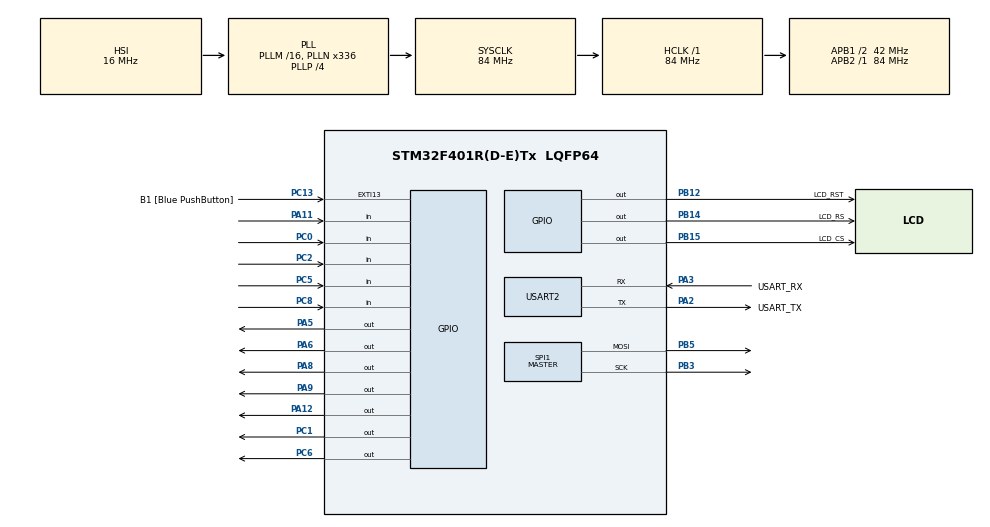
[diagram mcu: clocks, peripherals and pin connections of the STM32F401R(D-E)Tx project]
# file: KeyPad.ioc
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Mcu.Family=STM32F4
Mcu.Name=STM32F401R(D-E)Tx
Mcu.Package=LQFP64
NVIC.PriorityGroup=NVIC_PRIORITYGROUP_0
PA11.Signal=GPIO_Input
PA12.Signal=GPIO_Output
PA13.GPIO_Label=TMS
PA13.Mode=Serial_Wire
PA13.Signal=SYS_JTMS-SWDIO
PA14.GPIO_Label=TCK
PA14.Mode=Serial_Wire
PA14.Signal=SYS_JTCK-SWCLK
PA2.GPIO_Label=USART_TX
PA2.GPIO_Mode=GPIO_MODE_AF_PP
PA2.GPIO_PuPd=GPIO_NOPULL
PA2.GPIO_Speed=GPIO_SPEED_FREQ_LOW
PA2.Mode=Asynchronous
PA2.Signal=USART2_TX
PA3.GPIO_Label=USART_RX
PA3.GPIO_Mode=GPIO_MODE_AF_PP
PA3.GPIO_PuPd=GPIO_NOPULL
PA3.GPIO_Speed=GPIO_SPEED_FREQ_LOW
PA3.Mode=Asynchronous
PA3.Signal=USART2_RX
PA5.Signal=GPIO_Output
PA6.Signal=GPIO_Output
PA8.Signal=GPIO_Output
PA9.Signal=GPIO_Output
PB12.GPIO_Label=LCD_RST
PB12.Signal=GPIO_Output
PB14.GPIO_Label=LCD_RS
PB14.Signal=GPIO_Output
PB15.GPIO_Label=LCD_CS
PB15.Signal=GPIO_Output
PB3.Mode=TX_Only_Simplex_Unidirect_Master
PB3.Signal=SPI1_SCK
PB5.Mode=TX_Only_Simplex_Unidirect_Master
PB5.Signal=SPI1_MOSI
PC0.Signal=GPIO_Input
PC1.Signal=GPIO_Output
PC13-ANTI_TAMP.GPIO_Label=B1 [Blue PushButton]
PC13-ANTI_TAMP.GPIO_ModeDefaultEXTI=GPIO_MODE_IT_FALLING
PC13-ANTI_TAMP.GPIO_PuPd=GPIO_NOPULL
PC13-ANTI_TAMP.Signal=GPXTI13
PC14-OSC32_IN.Mode=LSE-External-Oscillator
PC14-OSC32_IN.Signal=RCC_OSC32_IN
PC15-OSC32_OUT.Mode=LSE-External-Oscillator
PC15-OSC32_OUT.Signal=RCC_OSC32_OUT
PC2.Signal=GPIO_Input
PC5.Signal=GPIO_Input
PC6.Signal=GPIO_Output
PC8.Signal=GPIO_Input
PH0\ -\ OSC_IN.Mode=HSE-External-Clock-Source
PH0\ -\ OSC_IN.Signal=RCC_OSC_IN
PH1\ -\ OSC_OUT.Mode=HSE-External-Clock-Source
PH1\ -\ OSC_OUT.Signal=RCC_OSC_OUT
ProjectManager.HeapSize=0x200
ProjectManager.StackSize=0x400
ProjectManager.TargetToolchain=STM32CubeIDE
RCC.48MHZClocksFreq_Value=48000000
RCC.AHBFreq_Value=84000000
RCC.APB1CLKDivider=RCC_HCLK_DIV2
RCC.APB1Freq_Value=42000000
RCC.APB1TimFreq_Value=84000000
RCC.APB2Freq_Value=84000000
RCC.APB2TimFreq_Value=84000000
RCC.CortexFreq_Value=84000000
RCC.HCLKFreq_Value=84000000
RCC.HSE_VALUE=8000000
RCC.HSI_VALUE=16000000
RCC.PLLN=336
RCC.PLLP=RCC_PLLP_DIV4
RCC.PLLQ=7
RCC.SYSCLKFreq_VALUE=84000000
RCC.SYSCLKSource=RCC_SYSCLKSOURCE_PLLCLK
RCC.VCOOutputFreq_Value=336000000
SPI1.BaudRatePrescaler=SPI_BAUDRATEPRESCALER_32
SPI1.Direction=SPI_DIRECTION_2LINES
SPI1.Mode=SPI_MODE_MASTER
SPI1.VirtualType=VM_MASTER
USART2.VirtualMode=VM_ASYNC
board=NUCLEO-F401RE

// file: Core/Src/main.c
/* USER CODE BEGIN Header */
/**
  ******************************************************************************
  * @file           : main.c
  * @brief          : Main program body
  ******************************************************************************
  * @attention
  *
  * Copyright (c) 2023 STMicroelectronics.
  * All rights reserved.
  *
  * This software is licensed under terms that can be found in the LICENSE file
  * in the root directory of this software component.
  * If no LICENSE file comes with this software, it is provided AS-IS.
  *
  ******************************************************************************
  */
/* USER CODE END Header */
#include "main.h"
#include "spi.h"
#include "usart.h"
#include "gpio.h"

/* USER CODE BEGIN Includes */
#include "st7735.h"
#include "fonts.h"
#include "lzy.h"
//#include "3x4keypad.h"
/* USER CODE END Includes */

/* USER CODE BEGIN PTD */
#define R1_PORT GPIOC
#define R1_PIN GPIO_PIN_1

#define R2_PORT GPIOA
#define R2_PIN GPIO_PIN_9

#define R3_PORT GPIOA
#define R3_PIN GPIO_PIN_8

#define R4_PORT GPIOA
#define R4_PIN GPIO_PIN_12

#define C1_PORT GPIOC
#define C1_PIN GPIO_PIN_2

#define C2_PORT GPIOC
#define C2_PIN GPIO_PIN_0

#define C3_PORT GPIOA
#define C3_PIN GPIO_PIN_11

#include "KeyPad.h"

/* USER CODE END PTD */

void SystemClock_Config(void);

/* USER CODE BEGIN 0 */

/*
char read_key_char(){
	HAL_GPIO_WritePin(GPIOC, GPIO_PIN_1, 1); // Wire 2 //
	if(HAL_GPIO_ReadPin(GPIOC, GPIO_PIN_2) == 1){ // Wire 3 //
		return '1';
  	}
  	if(HAL_GPIO_ReadPin(GPIOA, GPIO_PIN_11) == 1){ // Wire 5
  		return '3';
  	}
  	if(HAL_GPIO_ReadPin(GPIOC, GPIO_PIN_0) == 1){ // Wire 1 //
  	  	return '2';
  	}
	HAL_GPIO_WritePin(GPIOC, GPIO_PIN_1, 0);
	HAL_GPIO_WritePin(GPIOA, GPIO_PIN_9, 1); // Wire 7
	if(HAL_GPIO_ReadPin(GPIOC, GPIO_PIN_2) == 1){ // Wire 3 //
			return '4';
	  	}
	  	if(HAL_GPIO_ReadPin(GPIOA, GPIO_PIN_11) == 1){ // Wire 5
	  		return '6';
	  	}
	  	if(HAL_GPIO_ReadPin(GPIOC, GPIO_PIN_0) == 1){ // Wire 1 //
	  	  	return '5';
	  	}
	HAL_GPIO_WritePin(GPIOA, GPIO_PIN_9, 0);
	HAL_GPIO_WritePin(GPIOA, GPIO_PIN_8, 1); // Wire 6
	if(HAL_GPIO_ReadPin(GPIOC, GPIO_PIN_2) == 1){ // Wire 3 //
			return '7';
	  	}
	  	if(HAL_GPIO_ReadPin(GPIOA, GPIO_PIN_11) == 1){ // Wire 5
	  		return '9';
	  	}
	  	if(HAL_GPIO_ReadPin(GPIOC, GPIO_PIN_0) == 1){ // Wire 1 //
	  	  	return '8';
	  	}
	HAL_GPIO_WritePin(GPIOA, GPIO_PIN_8, 0);
	HAL_GPIO_WritePin(GPIOA, GPIO_PIN_12, 1); // Wire 4
	if(HAL_GPIO_ReadPin(GPIOC, GPIO_PIN_2) == 1){ // Wire 3 //
			return '*';
	  	}
	  	if(HAL_GPIO_ReadPin(GPIOA, GPIO_PIN_11) == 1){ // Wire 5
	  		return '3';
	  	}
	  	if(HAL_GPIO_ReadPin(GPIOC, GPIO_PIN_0) == 1){ // Wire 1 //
	  	  	return '2';
	  	}
	HAL_GPIO_WritePin(GPIOA, GPIO_PIN_12, 0);
}

int read_key_int(){
	HAL_GPIO_WritePin(GPIOC, GPIO_PIN_1, 1); // Wire 2
	if(HAL_GPIO_ReadPin(GPIOC, GPIO_PIN_2) == 1){ // Wire 3
		return 1;
  	}
  	if(HAL_GPIO_ReadPin(GPIOA, GPIO_PIN_11) == 1){ // Wire 5
  		return 3;
  	}
  	if(HAL_GPIO_ReadPin(GPIOC, GPIO_PIN_0) == 1){ // Wire 1
  	  	return 2;
  	}
	HAL_GPIO_WritePin(GPIOC, GPIO_PIN_6, 0);
	HAL_GPIO_WritePin(GPIOA, GPIO_PIN_6, 1); // Wire 7
	if(HAL_GPIO_ReadPin(GPIOC, GPIO_PIN_2) == 1){ // Wire 3
		return 4;
	}
	if(HAL_GPIO_ReadPin(GPIOC, GPIO_PIN_0) == 1){ // Wire 1
		return 5;
	}
	if(HAL_GPIO_ReadPin(GPIOA, GPIO_PIN_11) == 1){ // Wire 5
		return 6;
	}
	HAL_GPIO_WritePin(GPIOA, GPIO_PIN_6, 0);
	HAL_GPIO_WritePin(GPIOA, GPIO_PIN_5, 1); // Wire 6
	if(HAL_GPIO_ReadPin(GPIOC, GPIO_PIN_2) == 1){ // Wire 3
		return 7;
	}
	if(HAL_GPIO_ReadPin(GPIOC, GPIO_PIN_0) == 1){ // Wire 1
		return 8;
	}
	if(HAL_GPIO_ReadPin(GPIOA, GPIO_PIN_11) == 1){ // Wire 5
		return 9;
	}
	HAL_GPIO_WritePin(GPIOA, GPIO_PIN_5, 0);
	HAL_GPIO_WritePin(GPIOA, GPIO_PIN_12, 1); // Wire 4
	if(HAL_GPIO_ReadPin(GPIOC, GPIO_PIN_2) == 1){ // Wire 3
		return 12; // '*' -> Cancel
	}
	if(HAL_GPIO_ReadPin(GPIOC, GPIO_PIN_0) == 1){ // Wire 1
		return 0;
	}
	if(HAL_GPIO_ReadPin(GPIOA, GPIO_PIN_11) == 1){ // Wire 5
		return 14; // '#' -> Enter
	}
	HAL_GPIO_WritePin(GPIOA, GPIO_PIN_12, 0);
}
*/
uint8_t key;

char read_keypad (void)
{
	/* Make ROW 1 LOW and all other ROWs HIGH */
	HAL_GPIO_WritePin (R1_PORT, R1_PIN, GPIO_PIN_RESET);  //Pull the R1 low
	HAL_GPIO_WritePin (R2_PORT, R2_PIN, GPIO_PIN_SET);  // Pull the R2 High
	HAL_GPIO_WritePin (R3_PORT, R3_PIN, GPIO_PIN_SET);  // Pull the R3 High
	HAL_GPIO_WritePin (R4_PORT, R4_PIN, GPIO_PIN_SET);  // Pull the R4 High

	if (!(HAL_GPIO_ReadPin (C1_PORT, C1_PIN)))   // if the Col 1 is low
	{
		while (!(HAL_GPIO_ReadPin (C1_PORT, C1_PIN)));   // wait till the button is pressed
		return '1';
	}

	if (!(HAL_GPIO_ReadPin (C2_PORT, C2_PIN)))   // if the Col 2 is low
	{
		while (!(HAL_GPIO_ReadPin (C2_PORT, C2_PIN)));   // wait till the button is pressed
		return '2';
	}

	if (!(HAL_GPIO_ReadPin (C3_PORT, C3_PIN)))   // if the Col 3 is low
	{
		while (!(HAL_GPIO_ReadPin (C3_PORT, C3_PIN)));   // wait till the button is pressed
		return '3';
	}

	/* Make ROW 2 LOW and all other ROWs HIGH */
	HAL_GPIO_WritePin (R1_PORT, R1_PIN, GPIO_PIN_SET);  //Pull the R1 low
	HAL_GPIO_WritePin (R2_PORT, R2_PIN, GPIO_PIN_RESET);  // Pull the R2 High
	HAL_GPIO_WritePin (R3_PORT, R3_PIN, GPIO_PIN_SET);  // Pull the R3 High
	HAL_GPIO_WritePin (R4_PORT, R4_PIN, GPIO_PIN_SET);  // Pull the R4 High

	if (!(HAL_GPIO_ReadPin (C1_PORT, C1_PIN)))   // if the Col 1 is low
	{
		while (!(HAL_GPIO_ReadPin (C1_PORT, C1_PIN)));   // wait till the button is pressed
		return '4';
	}

	if (!(HAL_GPIO_ReadPin (C2_PORT, C2_PIN)))   // if the Col 2 is low
	{
		while (!(HAL_GPIO_ReadPin (C2_PORT, C2_PIN)));   // wait till the button is pressed
		return '5';
	}

	if (!(HAL_GPIO_ReadPin (C3_PORT, C3_PIN)))   // if the Col 3 is low
	{
		while (!(HAL_GPIO_ReadPin (C3_PORT, C3_PIN)));   // wait till the button is pressed
		return '6';
	}

	/* Make ROW 3 LOW and all other ROWs HIGH */
	HAL_GPIO_WritePin (R1_PORT, R1_PIN, GPIO_PIN_SET);  //Pull the R1 low
	HAL_GPIO_WritePin (R2_PORT, R2_PIN, GPIO_PIN_SET);  // Pull the R2 High
	HAL_GPIO_WritePin (R3_PORT, R3_PIN, GPIO_PIN_RESET);  // Pull the R3 High
	HAL_GPIO_WritePin (R4_PORT, R4_PIN, GPIO_PIN_SET);  // Pull the R4 High

	if (!(HAL_GPIO_ReadPin (C1_PORT, C1_PIN)))   // if the Col 1 is low
	{
		while (!(HAL_GPIO_ReadPin (C1_PORT, C1_PIN)));   // wait till the button is pressed
		return '7';
	}

	if (!(HAL_GPIO_ReadPin (C2_PORT, C2_PIN)))   // if the Col 2 is low
	{
		while (!(HAL_GPIO_ReadPin (C2_PORT, C2_PIN)));   // wait till the button is pressed
		return '8';
	}

	if (!(HAL_GPIO_ReadPin (C3_PORT, C3_PIN)))   // if the Col 3 is low
	{
		while (!(HAL_GPIO_ReadPin (C3_PORT, C3_PIN)));   // wait till the button is pressed
		return '9';
	}

	/* Make ROW 4 LOW and all other ROWs HIGH */
	HAL_GPIO_WritePin (R1_PORT, R1_PIN, GPIO_PIN_SET);  //Pull the R1 low
	HAL_GPIO_WritePin (R2_PORT, R2_PIN, GPIO_PIN_SET);  // Pull the R2 High
	HAL_GPIO_WritePin (R3_PORT, R3_PIN, GPIO_PIN_SET);  // Pull the R3 High
	HAL_GPIO_WritePin (R4_PORT, R4_PIN, GPIO_PIN_RESET);  // Pull the R4 High

	if (!(HAL_GPIO_ReadPin (C1_PORT, C1_PIN)))   // if the Col 1 is low
	{
		while (!(HAL_GPIO_ReadPin (C1_PORT, C1_PIN)));   // wait till the button is pressed
		return '*';
	}

	if (!(HAL_GPIO_ReadPin (C2_PORT, C2_PIN)))   // if the Col 2 is low
	{
		while (!(HAL_GPIO_ReadPin (C2_PORT, C2_PIN)));   // wait till the button is pressed
		return '0';
	}

	if (!(HAL_GPIO_ReadPin (C3_PORT, C3_PIN)))   // if the Col 3 is low
	{
		while (!(HAL_GPIO_ReadPin (C3_PORT, C3_PIN)));   // wait till the button is pressed
		return '#';
	}

}

/* USER CODE END 0 */

int main(void)
{

  /* MCU Configuration--------------------------------------------------------*/

  /* Reset of all peripherals, Initializes the Flash interface and the Systick. */
  HAL_Init();

  /* Configure the system clock */
  SystemClock_Config();

  /* Initialize all configured peripherals */
  MX_GPIO_Init();
  MX_USART2_UART_Init();
  MX_SPI1_Init();
  /* USER CODE BEGIN 2 */
  ST7735_Init();
  	  ST7735_FillScreen(ST7735_BLACK);
  	  ST7735_DrawImage(0,160,120,160,gImage_lzy);
  /* USER CODE END 2 */

  /* Infinite loop */
  /* USER CODE BEGIN WHILE */
  	KeyPad_Init();
  while (1)
  {
    /* USER CODE END WHILE */

    /* USER CODE BEGIN 3 */

		//ST7735_DrawCharS(10, 10, read_keypad(), ST7735_BLACK, ST7735_GREEN,4);
		//a *= 10;
		//a += read_key_int();
		//char A;
		//sprintf(A, "%d", a);
		//ST7735_DrawCharS(10, 40, A, ST7735_BLACK, ST7735_GREEN,3);

	  /*
		HAL_GPIO_WritePin(GPIOC, GPIO_PIN_1, GPIO_PIN_SET);
		HAL_GPIO_WritePin(GPIOA, GPIO_PIN_9, GPIO_PIN_RESET);
		HAL_GPIO_WritePin(GPIOA, GPIO_PIN_8, GPIO_PIN_RESET);
		HAL_GPIO_WritePin(GPIOA, GPIO_PIN_12, GPIO_PIN_RESET);
		HAL_Delay(1);

		if (HAL_GPIO_ReadPin(GPIOC, GPIO_PIN_2)){
			ST7735_DrawCharS(10, 10, '1', ST7735_BLACK, ST7735_GREEN,4);

		}
		if (HAL_GPIO_ReadPin(GPIOC, GPIO_PIN_0)){

			ST7735_DrawCharS(10, 10, '2', ST7735_BLACK, ST7735_GREEN,4);

		}
		if (HAL_GPIO_ReadPin(GPIOA, GPIO_PIN_11)){

			ST7735_DrawCharS(10, 10, '3', ST7735_BLACK, ST7735_GREEN,4);

		}
		HAL_GPIO_WritePin(GPIOC, GPIO_PIN_2, GPIO_PIN_RESET);
		HAL_GPIO_WritePin(GPIOC, GPIO_PIN_0, GPIO_PIN_RESET);
		HAL_GPIO_WritePin(GPIOA, GPIO_PIN_11, GPIO_PIN_RESET);

		HAL_GPIO_WritePin(GPIOC, GPIO_PIN_1, GPIO_PIN_RESET);
				HAL_GPIO_WritePin(GPIOA, GPIO_PIN_9, GPIO_PIN_SET);
				HAL_GPIO_WritePin(GPIOA, GPIO_PIN_8, GPIO_PIN_RESET);
				HAL_GPIO_WritePin(GPIOA, GPIO_PIN_12, GPIO_PIN_RESET);
		HAL_Delay(1);

		if (HAL_GPIO_ReadPin(GPIOC, GPIO_PIN_2)){
					ST7735_DrawCharS(10, 10, '4', ST7735_BLACK, ST7735_GREEN,4);

				}
				if (HAL_GPIO_ReadPin(GPIOC, GPIO_PIN_0)){

					ST7735_DrawCharS(10, 10, '5', ST7735_BLACK, ST7735_GREEN,4);

				}
				if (HAL_GPIO_ReadPin(GPIOA, GPIO_PIN_11)){

					ST7735_DrawCharS(10, 10, '6', ST7735_BLACK, ST7735_GREEN,4);

				}

				HAL_GPIO_WritePin(GPIOC, GPIO_PIN_2, GPIO_PIN_RESET);
				HAL_GPIO_WritePin(GPIOC, GPIO_PIN_0, GPIO_PIN_RESET);
				HAL_GPIO_WritePin(GPIOA, GPIO_PIN_11, GPIO_PIN_RESET);

				HAL_GPIO_WritePin(GPIOC, GPIO_PIN_1, GPIO_PIN_RESET);
						HAL_GPIO_WritePin(GPIOA, GPIO_PIN_9, GPIO_PIN_RESET);
						HAL_GPIO_WritePin(GPIOA, GPIO_PIN_8, GPIO_PIN_SET);
						HAL_GPIO_WritePin(GPIOA, GPIO_PIN_12, GPIO_PIN_RESET);
		HAL_Delay(1);

		if (HAL_GPIO_ReadPin(GPIOC, GPIO_PIN_2)){
					ST7735_DrawCharS(10, 10, '7', ST7735_BLACK, ST7735_GREEN,4);

				}
				if (HAL_GPIO_ReadPin(GPIOC, GPIO_PIN_0)){

					ST7735_DrawCharS(10, 10, '8', ST7735_BLACK, ST7735_GREEN,4);

				}
				if (HAL_GPIO_ReadPin(GPIOA, GPIO_PIN_11)){

					ST7735_DrawCharS(10, 10, '9', ST7735_BLACK, ST7735_GREEN,4);

				}

				HAL_GPIO_WritePin(GPIOC, GPIO_PIN_2, GPIO_PIN_RESET);
								HAL_GPIO_WritePin(GPIOC, GPIO_PIN_0, GPIO_PIN_RESET);
								HAL_GPIO_WritePin(GPIOA, GPIO_PIN_11, GPIO_PIN_RESET);

			HAL_GPIO_WritePin(GPIOC, GPIO_PIN_1, GPIO_PIN_RESET);
			HAL_GPIO_WritePin(GPIOA, GPIO_PIN_9, GPIO_PIN_RESET);
			HAL_GPIO_WritePin(GPIOA, GPIO_PIN_8, GPIO_PIN_RESET);
			HAL_GPIO_WritePin(GPIOA, GPIO_PIN_12, GPIO_PIN_SET);
		HAL_Delay(1);

		if (HAL_GPIO_ReadPin(GPIOC, GPIO_PIN_2)){
							ST7735_DrawCharS(10, 10, '*', ST7735_BLACK, ST7735_GREEN,4);

						}
						if (HAL_GPIO_ReadPin(GPIOC, GPIO_PIN_0)){

							ST7735_DrawCharS(10, 10, '0', ST7735_BLACK, ST7735_GREEN,4);

						}
						if (HAL_GPIO_ReadPin(GPIOA, GPIO_PIN_11)){

							ST7735_DrawCharS(10, 10, '#', ST7735_BLACK, ST7735_GREEN,4);

						}

						HAL_GPIO_WritePin(GPIOC, GPIO_PIN_2, GPIO_PIN_RESET);
										HAL_GPIO_WritePin(GPIOC, GPIO_PIN_0, GPIO_PIN_RESET);
										HAL_GPIO_WritePin(GPIOA, GPIO_PIN_11, GPIO_PIN_RESET);
*/
	  ST7735_DrawCharS(10, 10, KeyPad_WaitForKeyGetChar(500), ST7735_BLACK, ST7735_GREEN,4);

}

  }
  /* USER CODE END 3 */

void SystemClock_Config(void)
{
  RCC_OscInitTypeDef RCC_OscInitStruct = {0};
  RCC_ClkInitTypeDef RCC_ClkInitStruct = {0};

  /** Configure the main internal regulator output voltage
  */
  __HAL_RCC_PWR_CLK_ENABLE();
  __HAL_PWR_VOLTAGESCALING_CONFIG(PWR_REGULATOR_VOLTAGE_SCALE2);

  /** Initializes the RCC Oscillators according to the specified parameters
  * in the RCC_OscInitTypeDef structure.
  */
  RCC_OscInitStruct.OscillatorType = RCC_OSCILLATORTYPE_HSI;
  RCC_OscInitStruct.HSIState = RCC_HSI_ON;
  RCC_OscInitStruct.HSICalibrationValue = RCC_HSICALIBRATION_DEFAULT;
  RCC_OscInitStruct.PLL.PLLState = RCC_PLL_ON;
  RCC_OscInitStruct.PLL.PLLSource = RCC_PLLSOURCE_HSI;
  RCC_OscInitStruct.PLL.PLLM = 16;
  RCC_OscInitStruct.PLL.PLLN = 336;
  RCC_OscInitStruct.PLL.PLLP = RCC_PLLP_DIV4;
  RCC_OscInitStruct.PLL.PLLQ = 7;
  if (HAL_RCC_OscConfig(&RCC_OscInitStruct) != HAL_OK)
  {
    Error_Handler();
  }

  /** Initializes the CPU, AHB and APB buses clocks
  */
  RCC_ClkInitStruct.ClockType = RCC_CLOCKTYPE_HCLK|RCC_CLOCKTYPE_SYSCLK
                              |RCC_CLOCKTYPE_PCLK1|RCC_CLOCKTYPE_PCLK2;
  RCC_ClkInitStruct.SYSCLKSource = RCC_SYSCLKSOURCE_PLLCLK;
  RCC_ClkInitStruct.AHBCLKDivider = RCC_SYSCLK_DIV1;
  RCC_ClkInitStruct.APB1CLKDivider = RCC_HCLK_DIV2;
  RCC_ClkInitStruct.APB2CLKDivider = RCC_HCLK_DIV1;

  if (HAL_RCC_ClockConfig(&RCC_ClkInitStruct, FLASH_LATENCY_2) != HAL_OK)
  {
    Error_Handler();
  }
}

void Error_Handler(void)
{
  __disable_irq();
  while (1)
  {
  }
}
